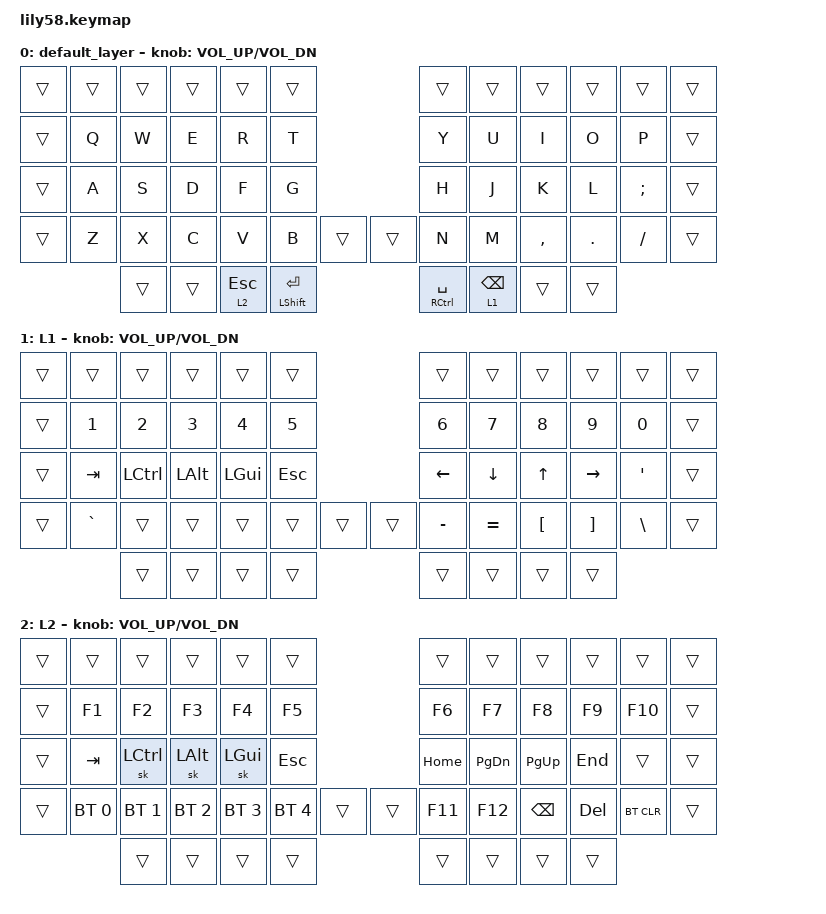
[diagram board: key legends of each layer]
/*
 * Copyright (c) 2020 The ZMK Contributors
 *
 * SPDX-License-Identifier: MIT
 */

#include <behaviors.dtsi>
#include <dt-bindings/zmk/keys.h>
#include <dt-bindings/zmk/bt.h>
#include <dt-bindings/zmk/ext_power.h>

/ {
	keymap {
		compatible = "zmk,keymap";

		default_layer {
// ------------------------------------------------------------------------------------------------------------
// |  |     |     |      |         |        |                             |         |       |       |      |       |  |
// |  |  Q  |  W  |  E   |    R    |  T     |                             |  Y      |  U    |  I    |  O   |   P   |  |
// |  |  A  |  S  |  D   |    F    |  G     |                             |  H      |  J    |  K    |  L   |   ;   |  |
// |  |  Z  |  X  |  C   |    V    |  B     |             |  |            |  N      |  M    |  ,    |  .   |   /   |  |
//                |      |         | L2/ESC | SHIFT/ENTER |  | CTRL/SPACE | L1/BSPC |       |       |
			bindings = <
&trans  &trans  &trans  &trans  &trans  &trans                     &trans  &trans  &trans     &trans   &trans    &trans
&trans  &kp Q   &kp W   &kp E   &kp R   &kp T                      &kp Y   &kp U   &kp I      &kp O    &kp P     &trans
&trans  &kp A   &kp S   &kp D   &kp F   &kp G                      &kp H   &kp J   &kp K      &kp L    &kp SEMI  &trans
&trans  &kp Z   &kp X   &kp C   &kp V   &kp B      &trans  &trans  &kp N   &kp M   &kp COMMA  &kp DOT  &kp FSLH  &trans
		     &trans &trans  &lt 2 ESC  &mt LSHIFT ENTER &mt RCTRL SPACE  &lt 1 BSPC  &trans &trans
			>;

			sensor-bindings = <&inc_dec_kp C_VOL_UP C_VOL_DN>;
		};

		L1 {
// ------------------------------------------------------------------------------------------------------------
// |  |     |       |      |      |     |                  |    |   |   |    |   |  |
// |  |  1  |  2    |  3   |  4   | 5   |                  |  6 | 7 | 8 | 9  | 0 |  |
// |  | TAB | LCTRL | LALT | LGUI | ESC |                  | <- | v | ^ | -> | ' |  |
// |  |  `  |       |      |      |     |       |  |       | -  | = | [ | ]  | \ |  |
//                  |      |      |     |       |  |       |    |   |   |
			bindings = <
&trans  &trans     &trans     &trans    &trans    &trans                   &trans     &trans     &trans    &trans     &trans    &trans
&trans  &kp N1     &kp N2     &kp N3    &kp N4    &kp N5                   &kp N6     &kp N7     &kp N8    &kp N9     &kp N0    &trans
&trans  &kp TAB    &kp LCTRL  &kp LALT  &kp LGUI  &kp ESC                  &kp LEFT   &kp DOWN   &kp UP    &kp RIGHT  &kp SQT   &trans
&trans  &kp GRAVE  &trans     &trans    &trans    &trans   &trans  &trans  &kp MINUS  &kp EQUAL  &kp LBKT  &kp RBKT   &kp BSLH  &trans
                        &trans  &trans  &trans  &trans   &trans     &trans      &trans    &trans
			>;

			sensor-bindings = <&inc_dec_kp C_VOL_UP C_VOL_DN>;
		};

		L2 {
// ------------------------------------------------------------------------------------------------------------
// |  |     |       |      |      |     |                |      |       |       |     |        |  |
// |  | F1  | F2    | F3   | F4   | F5  |                | F6   |  F7   |  F8   | F9  | F10    |  |  
// |  | TAB | LCTRL | LALT | LGUI | ESC |                | HOME | PG_DN | PG_UP | END |        |  |
// |  | BT0 | BT1   | BT2  | BT3  | BT4 |      |  |      | F11  |  F12  | BSPC  | DEL | BT_CLR |  |
//                  |      |      |     |      |  |      |      |       |       |
			bindings = <
&trans  &trans        &trans        &trans        &trans       &trans                        &trans     &trans     &trans     &trans      &trans      &trans
&trans  &kp F1        &kp F2        &kp F3        &kp F4       &kp F5                        &kp F6     &kp F7     &kp F8     &kp F9      &kp F10     &trans
&trans  &kp TAB       &sk LCTRL     &sk LALT      &sk LGUI     &kp ESC                       &kp HOME   &kp PG_DN  &kp PG_UP  &kp END     &trans      &trans
&trans  &bt BT_SEL 0  &bt BT_SEL 1  &bt BT_SEL 2  &bt BT_SEL 3 &bt BT_SEL 4  &trans  &trans  &kp F11    &kp F12    &kp BSPC   &kp DELETE  &bt BT_CLR  &trans
	                    &trans        &trans        &trans       &trans          &trans  &trans     &trans   &trans
			>;

			sensor-bindings = <&inc_dec_kp C_VOL_UP C_VOL_DN>;
		};
	};
};
